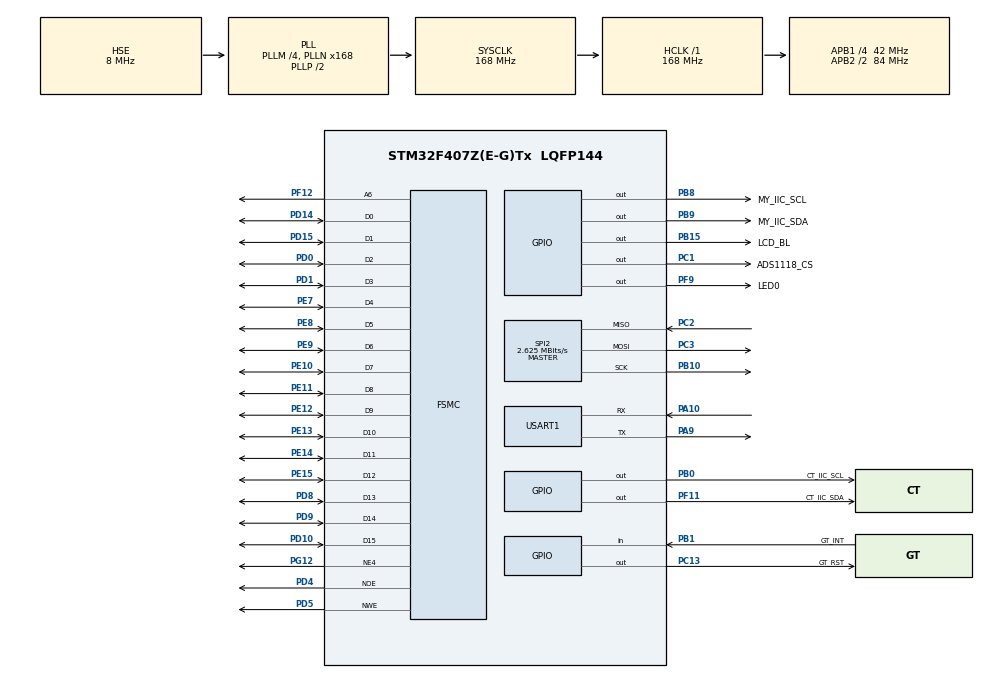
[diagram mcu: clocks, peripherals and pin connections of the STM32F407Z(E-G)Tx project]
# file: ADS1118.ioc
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FSMC.AddressSetupTime4=2
FSMC.DataSetupTime4=5
FSMC.ExtendedAddressSetupTime4=0
FSMC.ExtendedDataSetupTime4=3
FSMC.ExtendedMode4=FSMC_EXTENDED_MODE_ENABLE
Mcu.Family=STM32F4
Mcu.Name=STM32F407Z(E-G)Tx
Mcu.Package=LQFP144
NVIC.PriorityGroup=NVIC_PRIORITYGROUP_4
NVIC.TIM3_IRQn=true\:1\:0\:true\:false\:true\:true\:true
NVIC.TIM4_IRQn=true\:2\:0\:true\:false\:true\:true\:true
NVIC.TIM5_IRQn=true\:3\:0\:true\:false\:true\:true\:true
PA10.Mode=Asynchronous
PA10.Signal=USART1_RX
PA13.Mode=Serial_Wire
PA13.Signal=SYS_JTMS-SWDIO
PA14.Mode=Serial_Wire
PA14.Signal=SYS_JTCK-SWCLK
PA9.Mode=Asynchronous
PA9.Signal=USART1_TX
PB0.GPIO_Label=CT_IIC_SCL
PB0.GPIO_PuPd=GPIO_PULLUP
PB0.GPIO_Speed=GPIO_SPEED_FREQ_VERY_HIGH
PB0.PinState=GPIO_PIN_SET
PB0.Signal=GPIO_Output
PB1.GPIO_Label=GT_INT
PB1.GPIO_PuPd=GPIO_PULLUP
PB1.Signal=GPIO_Input
PB10.GPIO_PuPd=GPIO_NOPULL
PB10.Mode=Full_Duplex_Master
PB10.Signal=SPI2_SCK
PB15.GPIO_Label=LCD_BL
PB15.Signal=GPIO_Output
PB8.GPIO_Label=MY_IIC_SCL
PB8.GPIO_PuPd=GPIO_PULLUP
PB8.GPIO_Speed=GPIO_SPEED_FREQ_HIGH
PB8.PinState=GPIO_PIN_SET
PB8.Signal=GPIO_Output
PB9.GPIO_Label=MY_IIC_SDA
PB9.GPIO_PuPd=GPIO_PULLUP
PB9.GPIO_Speed=GPIO_SPEED_FREQ_HIGH
PB9.PinState=GPIO_PIN_SET
PB9.Signal=GPIO_Output
PC1.GPIO_Label=ADS1118_CS
PC1.GPIO_PuPd=GPIO_PULLUP
PC1.GPIO_Speed=GPIO_SPEED_FREQ_VERY_HIGH
PC1.PinState=GPIO_PIN_SET
PC1.Signal=GPIO_Output
PC13-ANTI_TAMP.GPIO_Label=GT_RST
PC13-ANTI_TAMP.GPIO_PuPd=GPIO_PULLUP
PC13-ANTI_TAMP.GPIO_Speed=GPIO_SPEED_FREQ_LOW
PC13-ANTI_TAMP.PinState=GPIO_PIN_RESET
PC13-ANTI_TAMP.Signal=GPIO_Output
PC2.GPIO_PuPd=GPIO_NOPULL
PC2.Mode=Full_Duplex_Master
PC2.Signal=SPI2_MISO
PC3.GPIO_PuPd=GPIO_NOPULL
PC3.Mode=Full_Duplex_Master
PC3.Signal=SPI2_MOSI
PD0.Signal=FSMC_D2_DA2
PD1.Signal=FSMC_D3_DA3
PD10.Signal=FSMC_D15_DA15
PD14.Signal=FSMC_D0_DA0
PD15.Signal=FSMC_D1_DA1
PD4.Signal=FSMC_NOE
PD5.Signal=FSMC_NWE
PD8.Signal=FSMC_D13_DA13
PD9.Signal=FSMC_D14_DA14
PE10.Signal=FSMC_D7_DA7
PE11.Signal=FSMC_D8_DA8
PE12.Signal=FSMC_D9_DA9
PE13.Signal=FSMC_D10_DA10
PE14.Signal=FSMC_D11_DA11
PE15.Signal=FSMC_D12_DA12
PE7.Signal=FSMC_D4_DA4
PE8.Signal=FSMC_D5_DA5
PE9.Signal=FSMC_D6_DA6
PF11.GPIO_Label=CT_IIC_SDA
PF11.GPIO_ModeDefaultOutputPP=GPIO_MODE_OUTPUT_PP
PF11.GPIO_PuPd=GPIO_PULLUP
PF11.GPIO_Speed=GPIO_SPEED_FREQ_VERY_HIGH
PF11.PinState=GPIO_PIN_SET
PF11.Signal=GPIO_Output
PF12.Signal=FSMC_A6
PF9.GPIO_Label=LED0
PF9.PinState=GPIO_PIN_SET
PF9.Signal=GPIO_Output
PG12.Mode=NorPsramChipSelect4_4
PG12.Signal=FSMC_NE4
PH0-OSC_IN.Mode=HSE-External-Oscillator
PH0-OSC_IN.Signal=RCC_OSC_IN
PH1-OSC_OUT.Mode=HSE-External-Oscillator
PH1-OSC_OUT.Signal=RCC_OSC_OUT
ProjectManager.HeapSize=0x200
ProjectManager.StackSize=0x400
ProjectManager.TargetToolchain=SW4STM32
RCC.48MHZClocksFreq_Value=84000000
RCC.AHBFreq_Value=168000000
RCC.APB1CLKDivider=RCC_HCLK_DIV4
RCC.APB1Freq_Value=42000000
RCC.APB1TimFreq_Value=84000000
RCC.APB2CLKDivider=RCC_HCLK_DIV2
RCC.APB2Freq_Value=84000000
RCC.APB2TimFreq_Value=168000000
RCC.CortexFreq_Value=168000000
RCC.HCLKFreq_Value=168000000
RCC.HSE_VALUE=8000000
RCC.HSI_VALUE=16000000
RCC.LSE_VALUE=32768
RCC.PLLM=4
RCC.PLLN=168
RCC.PLLSourceVirtual=RCC_PLLSOURCE_HSE
RCC.SYSCLKFreq_VALUE=168000000
RCC.SYSCLKSource=RCC_SYSCLKSOURCE_PLLCLK
RCC.VCOOutputFreq_Value=336000000
SH.FSMC_A6.0=FSMC_A6,A6_4
SH.FSMC_D0_DA0.0=FSMC_D0,16b-d4
SH.FSMC_D10_DA10.0=FSMC_D10,16b-d4
SH.FSMC_D11_DA11.0=FSMC_D11,16b-d4
SH.FSMC_D12_DA12.0=FSMC_D12,16b-d4
SH.FSMC_D13_DA13.0=FSMC_D13,16b-d4
SH.FSMC_D14_DA14.0=FSMC_D14,16b-d4
SH.FSMC_D15_DA15.0=FSMC_D15,16b-d4
SH.FSMC_D1_DA1.0=FSMC_D1,16b-d4
SH.FSMC_D2_DA2.0=FSMC_D2,16b-d4
SH.FSMC_D3_DA3.0=FSMC_D3,16b-d4
SH.FSMC_D4_DA4.0=FSMC_D4,16b-d4
SH.FSMC_D5_DA5.0=FSMC_D5,16b-d4
SH.FSMC_D6_DA6.0=FSMC_D6,16b-d4
SH.FSMC_D7_DA7.0=FSMC_D7,16b-d4
SH.FSMC_D8_DA8.0=FSMC_D8,16b-d4
SH.FSMC_D9_DA9.0=FSMC_D9,16b-d4
SH.FSMC_NOE.0=FSMC_NOE,Lcd4
SH.FSMC_NWE.0=FSMC_NWE,Lcd4
SPI2.BaudRatePrescaler=SPI_BAUDRATEPRESCALER_16
SPI2.CLKPhase=SPI_PHASE_2EDGE
SPI2.CalculateBaudRate=2.625 MBits/s
SPI2.DataSize=SPI_DATASIZE_8BIT
SPI2.Direction=SPI_DIRECTION_2LINES
SPI2.Mode=SPI_MODE_MASTER
SPI2.VirtualType=VM_MASTER
TIM3.AutoReloadPreload=TIM_AUTORELOAD_PRELOAD_ENABLE
TIM3.Period=999
TIM3.Prescaler=83
TIM4.AutoReloadPreload=TIM_AUTORELOAD_PRELOAD_ENABLE
TIM4.Period=999
TIM4.Prescaler=839
TIM5.AutoReloadPreload=TIM_AUTORELOAD_PRELOAD_ENABLE
TIM5.Period=8399
TIM5.Prescaler=4999
USART1.VirtualMode=VM_ASYNC
VP_CRC_VS_CRC.Mode=CRC_Activate
VP_TIM3_VS_ClockSourceINT.Mode=Internal
VP_TIM4_VS_ClockSourceINT.Mode=Internal
VP_TIM5_VS_ClockSourceINT.Mode=Internal
board=custom

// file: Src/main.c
/* USER CODE BEGIN Header */
/**
  ******************************************************************************
  * @file           : main.c
  * @brief          : Main program body
  ******************************************************************************
  * @attention
  *
  * <h2><center>&copy; Copyright (c) 2020 STMicroelectronics.
  * All rights reserved.</center></h2>
  *
  * This software component is licensed by ST under BSD 3-Clause license,
  * the "License"; You may not use this file except in compliance with the
  * License. You may obtain a copy of the License at:
  *                        opensource.org/licenses/BSD-3-Clause
  *
  ******************************************************************************
  */
/* USER CODE END Header */
#include "main.h"
#include "crc.h"
#include "spi.h"
#include "tim.h"
#include "usart.h"
#include "gpio.h"
#include "fsmc.h"

/* USER CODE BEGIN Includes */
#include <stdio.h>
#include "retarget.h"
#include "ILI93xx.h"
#include "GUI.h"
#include "touch.h"
#include "emwinDemo.h"
#include "DIALOG.h"
#include "ads1118.h"
/* USER CODE END Includes */

void SystemClock_Config(void);

int main(void)
{
  /* USER CODE BEGIN 1 */
    int16_t temp;
    float volt;
    float temperature;
  /* USER CODE END 1 */

  /* MCU Configuration--------------------------------------------------------*/

  /* Reset of all peripherals, Initializes the Flash interface and the Systick. */
  HAL_Init();

  /* Configure the system clock */
  SystemClock_Config();

  /* Initialize all configured peripherals */
  MX_GPIO_Init();
  MX_USART1_UART_Init();
  MX_FSMC_Init();
  MX_CRC_Init();
  MX_TIM4_Init();
  MX_TIM5_Init();
  MX_TIM3_Init();
  MX_SPI2_Init();
  /* USER CODE BEGIN 2 */
    RetargetInit(&huart1);
//    TFTLCD_Init();
//    TP_Init();

//    ADS_Config(0);

//    WM_SetCreateFlags(WM_CF_MEMDEV);
//    GUI_Init();

    HAL_TIM_Base_Start_IT(&htim3);
    HAL_TIM_Base_Start_IT(&htim4);
    HAL_TIM_Base_Start_IT(&htim5);

//    //����Ƥ��
//    BUTTON_SetDefaultSkin(BUTTON_SKIN_FLEX);
//    CHECKBOX_SetDefaultSkin(CHECKBOX_SKIN_FLEX);
//    DROPDOWN_SetDefaultSkin(DROPDOWN_SKIN_FLEX);
//    FRAMEWIN_SetDefaultSkin(FRAMEWIN_SKIN_FLEX);
//    HEADER_SetDefaultSkin(HEADER_SKIN_FLEX);
//    MENU_SetDefaultSkin(MENU_SKIN_FLEX);
//    MULTIPAGE_SetDefaultSkin(MULTIPAGE_SKIN_FLEX);
//    PROGBAR_SetDefaultSkin(PROGBAR_SKIN_FLEX);
//    RADIO_SetDefaultSkin(RADIO_SKIN_FLEX);
//    SCROLLBAR_SetDefaultSkin(SCROLLBAR_SKIN_FLEX);
//    SLIDER_SetDefaultSkin(SLIDER_SKIN_FLEX);
//    SPINBOX_SetDefaultSkin(SPINBOX_SKIN_FLEX);
//
//    emwinDemo();

  /* USER CODE END 2 */

  /* Infinite loop */
  while (1)
  {

    /* USER CODE BEGIN 3 */
      temp = SPI_RW_Reg(0xC38B);

      volt = temp/1000.0 * 125;//mv

      temperature = (-0.193)*volt+212.009;

      printf("%f\r\n",temperature);

      HAL_Delay(1000);
      //GUI_Delay(1);
  }
  /* USER CODE END 3 */
}

void SystemClock_Config(void)
{
  RCC_OscInitTypeDef RCC_OscInitStruct = {0};
  RCC_ClkInitTypeDef RCC_ClkInitStruct = {0};

  /** Configure the main internal regulator output voltage
  */
  __HAL_RCC_PWR_CLK_ENABLE();
  __HAL_PWR_VOLTAGESCALING_CONFIG(PWR_REGULATOR_VOLTAGE_SCALE1);
  /** Initializes the RCC Oscillators according to the specified parameters
  * in the RCC_OscInitTypeDef structure.
  */
  RCC_OscInitStruct.OscillatorType = RCC_OSCILLATORTYPE_HSE;
  RCC_OscInitStruct.HSEState = RCC_HSE_ON;
  RCC_OscInitStruct.PLL.PLLState = RCC_PLL_ON;
  RCC_OscInitStruct.PLL.PLLSource = RCC_PLLSOURCE_HSE;
  RCC_OscInitStruct.PLL.PLLM = 4;
  RCC_OscInitStruct.PLL.PLLN = 168;
  RCC_OscInitStruct.PLL.PLLP = RCC_PLLP_DIV2;
  RCC_OscInitStruct.PLL.PLLQ = 4;
  if (HAL_RCC_OscConfig(&RCC_OscInitStruct) != HAL_OK)
  {
    Error_Handler();
  }
  /** Initializes the CPU, AHB and APB buses clocks
  */
  RCC_ClkInitStruct.ClockType = RCC_CLOCKTYPE_HCLK|RCC_CLOCKTYPE_SYSCLK
                              |RCC_CLOCKTYPE_PCLK1|RCC_CLOCKTYPE_PCLK2;
  RCC_ClkInitStruct.SYSCLKSource = RCC_SYSCLKSOURCE_PLLCLK;
  RCC_ClkInitStruct.AHBCLKDivider = RCC_SYSCLK_DIV1;
  RCC_ClkInitStruct.APB1CLKDivider = RCC_HCLK_DIV4;
  RCC_ClkInitStruct.APB2CLKDivider = RCC_HCLK_DIV2;

  if (HAL_RCC_ClockConfig(&RCC_ClkInitStruct, FLASH_LATENCY_5) != HAL_OK)
  {
    Error_Handler();
  }
}

void Error_Handler(void)
{
}

/************************ (C) COPYRIGHT STMicroelectronics *****END OF FILE****/
